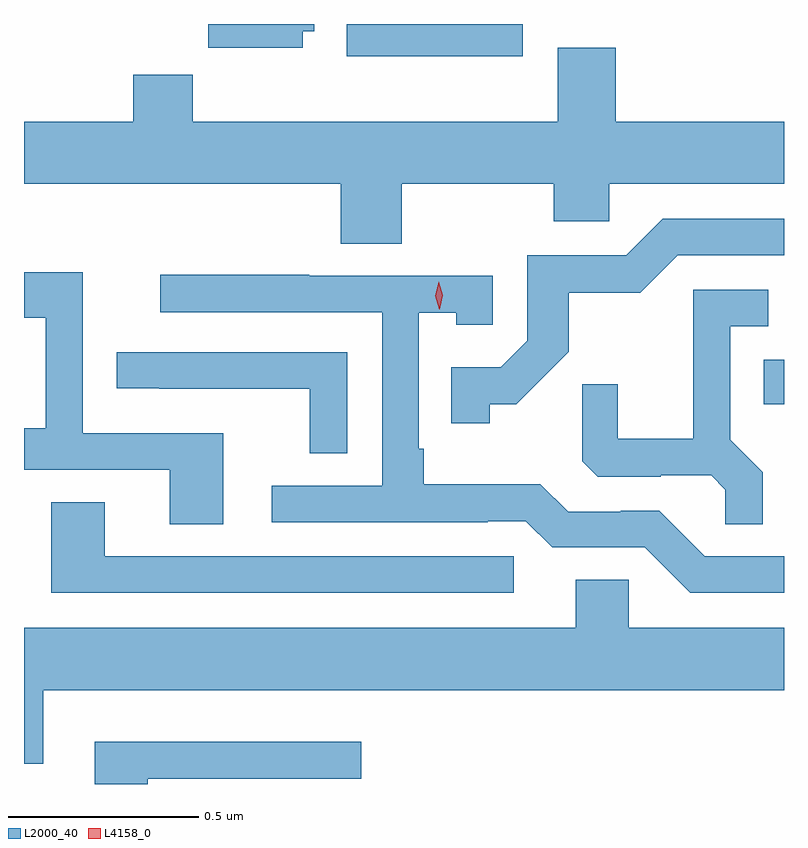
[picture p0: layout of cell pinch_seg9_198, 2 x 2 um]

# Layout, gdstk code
import gdstk
lib = gdstk.Library(unit=1e-6, precision=1e-09)
def R(c, l, rs):  # rectangles x0, y0, x1, y1
    for r in rs: c.add(gdstk.rectangle(r[:2], r[2:], *l))
def P(c, l, *ps):  # polygons
    for p in ps: c.add(gdstk.Polygon(p, *l))
L2000_40 = (2000, 40)
L4158_0 = (4158, 0)

pinch_seg9_198 = lib.new_cell('pinch_seg9_198')
R(pinch_seg9_198, L2000_40, [(536.432,1229.141,536.485,1229.257), (535.334,1230.056,535.798,1230.141)])
P(pinch_seg9_198, L2000_40, [(535.219,1230.122),(535.249,1230.122),(535.249,1230.141),(534.97,1230.141),(534.97,1230.078),(535.219,1230.078)],
  [(535.479,1229.72),(535.879,1229.72),(535.879,1229.622),(536.025,1229.622),(536.025,1229.72),(536.485,1229.72),(536.485,1229.884),(536.042,1229.884),(536.042,1230.079),(535.889,1230.079),(535.889,1229.884),(534.929,1229.884),(534.929,1230.008),(534.773,1230.008),(534.773,1229.884),(534.485,1229.884),(534.485,1229.72),(535.319,1229.72),(535.319,1229.563),(535.479,1229.563)],
  [(535.71,1229.141),(535.78,1229.141),(535.918,1229.278),(535.918,1229.434),(536.107,1229.434),(536.205,1229.532),(536.485,1229.532),(536.485,1229.628),(536.166,1229.628),(536.07,1229.532),(535.809,1229.532),(535.809,1229.307),(535.74,1229.238),(535.609,1229.238),(535.609,1229.091),(535.71,1229.091)],
  [(535.009,1229.064),(534.639,1229.064),(534.639,1229.488),(534.485,1229.488),(534.485,1229.368),(534.542,1229.368),(534.542,1229.077),(534.485,1229.077),(534.485,1228.968),(534.869,1228.968),(534.869,1228.825),(535.009,1228.825)],
  [(536.485,1228.74),(536.277,1228.74),(536.157,1228.86),(536.056,1228.86),(536.056,1228.857),(535.917,1228.857),(535.844,1228.93),(535.537,1228.93),(535.537,1229.023),(535.524,1229.023),(535.524,1229.381),(535.623,1229.381),(535.623,1229.349),(535.719,1229.349),(535.719,1229.478),(535.235,1229.478),(535.235,1229.481),(534.843,1229.481),(534.843,1229.382),(535.428,1229.382),(535.428,1228.926),(535.137,1228.926),(535.137,1228.83),(535.706,1228.83),(535.706,1228.833),(535.806,1228.833),(535.875,1228.764),(536.118,1228.764),(536.238,1228.644),(536.485,1228.644)],
  [(536.429,1228.961),(536.343,1229.047),(536.343,1229.346),(536.443,1229.346),(536.443,1229.442),(536.246,1229.442),(536.246,1229.05),(536.048,1229.05),(536.048,1229.193),(535.954,1229.193),(535.954,1228.991),(535.995,1228.95),(536.16,1228.95),(536.16,1228.953),(536.294,1228.953),(536.331,1228.916),(536.331,1228.825),(536.429,1228.825)],
  [(535.335,1229.277),(534.729,1229.277),(534.729,1229.182),(534.841,1229.182),(534.841,1229.181),(535.237,1229.181),(535.237,1229.011),(535.335,1229.011)],
  [(535.774,1228.74),(534.697,1228.74),(534.697,1228.883),(534.557,1228.883),(534.557,1228.644),(535.774,1228.644)],
  [(534.535,1228.388),(536.485,1228.388),(536.485,1228.552),(536.076,1228.552),(536.076,1228.679),(535.937,1228.679),(535.937,1228.552),(534.485,1228.552),(534.485,1228.194),(534.535,1228.194)],
  [(534.811,1228.155),(535.372,1228.155),(535.372,1228.252),(534.671,1228.252),(534.671,1228.141),(534.811,1228.141)])
P(pinch_seg9_198, L4158_0, [(535.579,1229.39),(535.578,1229.391),(535.567,1229.426),(535.576,1229.463),(535.576,1229.463),(535.576,1229.463),(535.587,1229.427),(535.579,1229.391)])

lib.write_gds('pinch_seg9_198.gds')
